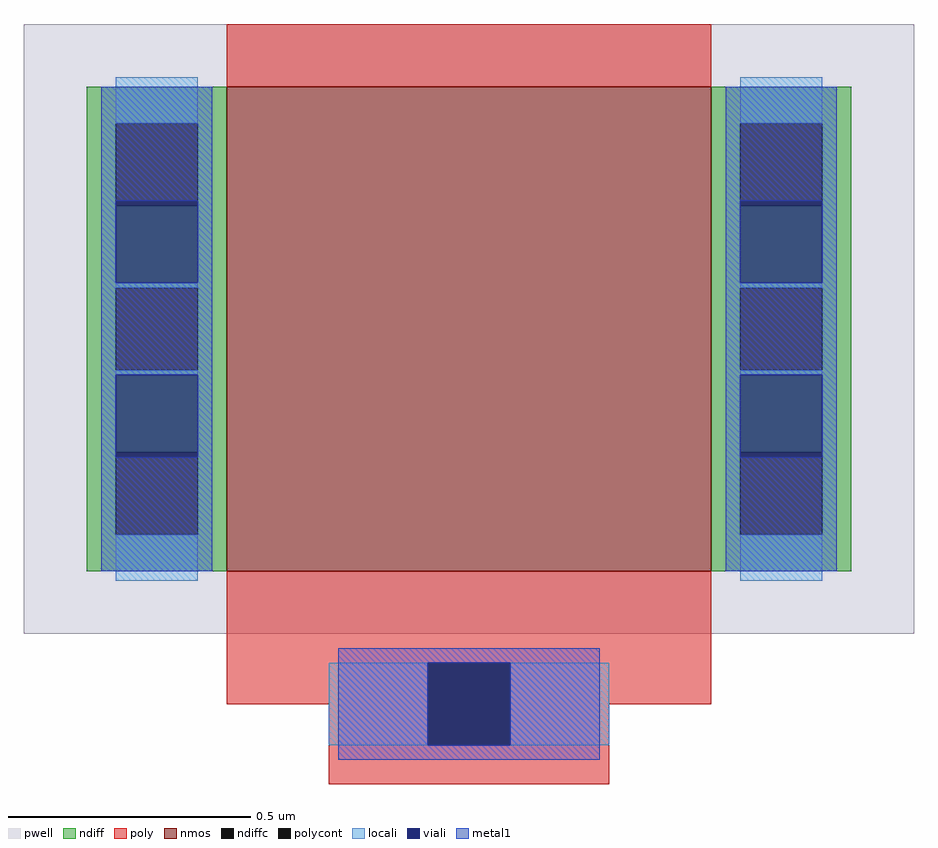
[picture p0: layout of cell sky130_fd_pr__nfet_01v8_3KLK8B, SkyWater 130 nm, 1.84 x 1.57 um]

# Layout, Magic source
magic
tech sky130A
magscale 1 2
<< pwell >>
rect -184 -95 184 157
<< nmos >>
rect -100 -69 100 131
<< ndiff >>
rect -158 116 -100 131
rect -158 82 -146 116
rect -112 82 -100 116
rect -158 48 -100 82
rect -158 14 -146 48
rect -112 14 -100 48
rect -158 -20 -100 14
rect -158 -54 -146 -20
rect -112 -54 -100 -20
rect -158 -69 -100 -54
rect 100 116 158 131
rect 100 82 112 116
rect 146 82 158 116
rect 100 48 158 82
rect 100 14 112 48
rect 146 14 158 48
rect 100 -20 158 14
rect 100 -54 112 -20
rect 146 -54 158 -20
rect 100 -69 158 -54
<< ndiffc >>
rect -146 82 -112 116
rect -146 14 -112 48
rect -146 -54 -112 -20
rect 112 82 146 116
rect 112 14 146 48
rect 112 -54 146 -20
<< poly >>
rect -100 131 100 157
rect -100 -107 100 -69
rect -100 -124 -17 -107
rect -58 -141 -17 -124
rect 17 -124 100 -107
rect 17 -141 58 -124
rect -58 -157 58 -141
<< polycont >>
rect -17 -141 17 -107
<< locali >>
rect -146 116 -112 135
rect -146 48 -112 50
rect -146 12 -112 14
rect -146 -73 -112 -54
rect 112 116 146 135
rect 112 48 146 50
rect 112 12 146 14
rect 112 -73 146 -54
rect -58 -141 -17 -107
rect 17 -141 58 -107
<< viali >>
rect -146 82 -112 84
rect -146 50 -112 82
rect -146 -20 -112 12
rect -146 -22 -112 -20
rect 112 82 146 84
rect 112 50 146 82
rect 112 -20 146 12
rect 112 -22 146 -20
rect -17 -141 17 -107
<< metal1 >>
rect -152 84 -106 131
rect -152 50 -146 84
rect -112 50 -106 84
rect -152 12 -106 50
rect -152 -22 -146 12
rect -112 -22 -106 12
rect -152 -69 -106 -22
rect 106 84 152 131
rect 106 50 112 84
rect 146 50 152 84
rect 106 12 152 50
rect 106 -22 112 12
rect 146 -22 152 12
rect 106 -69 152 -22
rect -54 -107 54 -101
rect -54 -141 -17 -107
rect 17 -141 54 -107
rect -54 -147 54 -141
<< end >>
